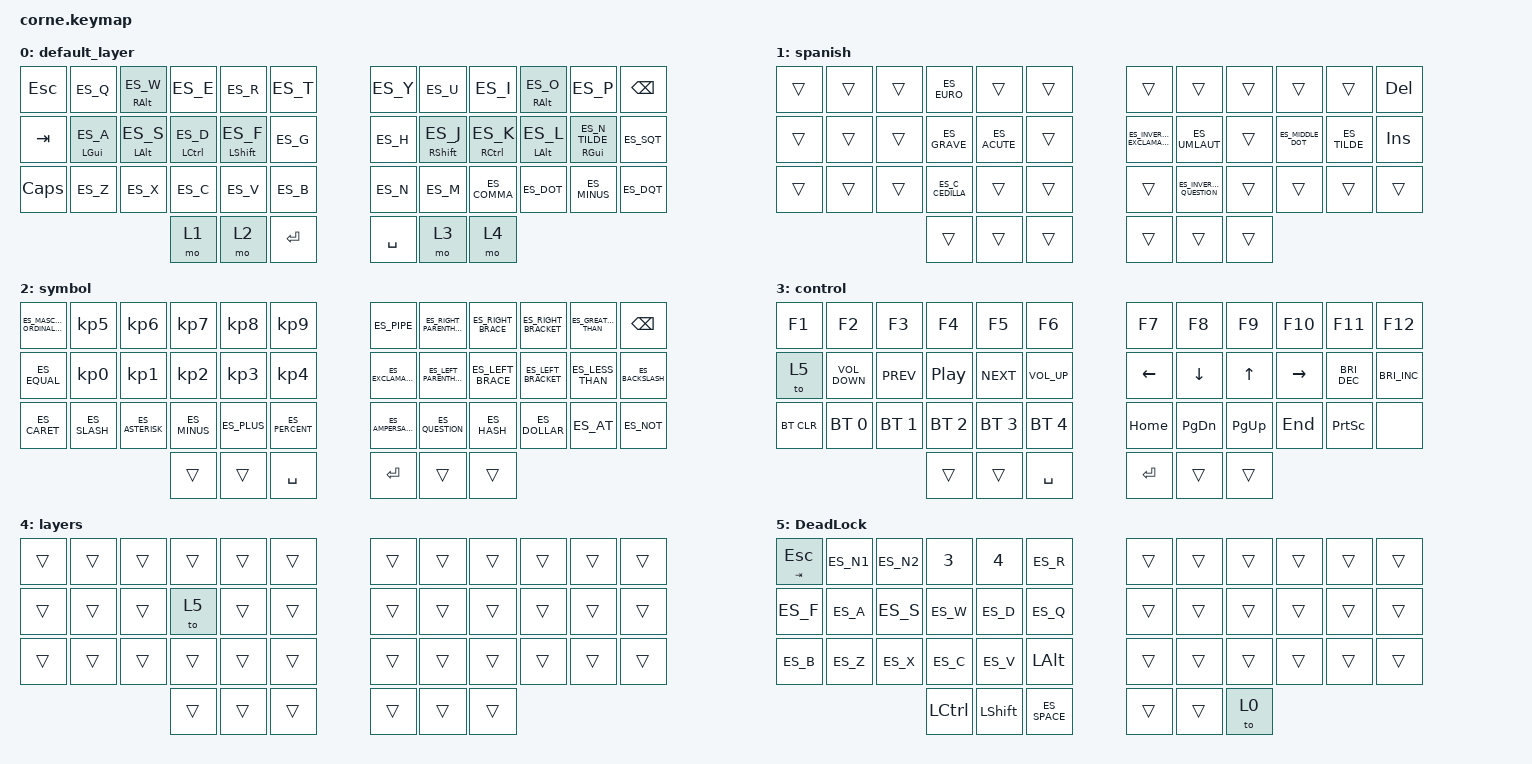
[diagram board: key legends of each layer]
/*
 * Copyright (c) 2020 The ZMK Contributors
 *
 * SPDX-License-Identifier: MIT
 */

#include "keys_es.h"
#include <behaviors.dtsi>
#include <dt-bindings/zmk/bt.h>
#include <dt-bindings/zmk/keys.h>

/ {
    behaviors {
        HRM: HRM {
            compatible = "zmk,behavior-hold-tap";
            label = "HRM";
            bindings = <&kp>, <&kp>;

            #binding-cells = <2>;
            tapping-term-ms = <200>;
            quick-tap-ms = <150>;
            flavor = "tap-preferred";
            hold-trigger-key-positions = <41 40 39 38 36 37 29 28 26 27 15 16 17 1 2 4 5 13 14 15 16 17 25 26 27 28 29 3 0 12 24>;
            hold-trigger-on-release;
        };

        HRL: HRL {
            compatible = "zmk,behavior-hold-tap";
            label = "HRL";
            bindings = <&kp>, <&kp>;

            #binding-cells = <2>;
            tapping-term-ms = <200>;
            quick-tap-ms = <150>;
            flavor = "tap-preferred";
            hold-trigger-on-release;
            hold-trigger-key-positions = <36 37 38 39 40 41 6 7 8 9 10 11 18 19 20 21 22 23 30 31 32 33 34 35>;
        };
    };

    keymap {
        compatible = "zmk,keymap";

        default_layer {
            // -----------------------------------------------------------------------------------------
            // |  TAB |  Q  |  W  |  E  |  R  |  T  |   |  Y  |  U   |  I  |  O  |  P  | BSPC |
            // | CTRL |  A  |  S  |  D  |  F  |  G  |   |  H  |  J   |  K  |  L  |  ;  |  '   |
            // | SHFT |  Z  |  X  |  C  |  V  |  B  |   |  N  |  M   |  ,  |  .  |  /  | ESC  |
            //                    | GUI | LWR | SPC |   | ENT | RSE  | ALT |

            bindings = <
&kp ESC   &kp ES_Q            &HRL RIGHT_ALT ES_W  &kp ES_E                &kp ES_R              &kp ES_T    &kp ES_Y   &kp ES_U               &kp ES_I                 &HRM RALT ES_O      &kp ES_P                   &kp BSPC
&kp TAB   &HRL LEFT_GUI ES_A  &HRL LEFT_ALT ES_S   &HRL LEFT_CONTROL ES_D  &HRL LEFT_SHIFT ES_F  &kp ES_G    &kp ES_H   &HRM RIGHT_SHIFT ES_J  &HRM RIGHT_CONTROL ES_K  &HRM LEFT_ALT ES_L  &HRM RIGHT_GUI ES_N_TILDE  &kp ES_SQT
&kp CAPS  &kp ES_Z            &kp ES_X             &kp ES_C                &kp ES_V              &kp ES_B    &kp ES_N   &kp ES_M               &kp ES_COMMA             &kp ES_DOT          &kp ES_MINUS               &kp ES_DQT
                                                   &mo 1                   &mo 2                 &kp RET     &kp SPACE  &mo 3                  &mo 4
            >;
        };

        spanish {
            bindings = <
&trans  &trans  &trans  &kp ES_EURO       &trans        &trans    &trans                       &trans                    &trans  &trans             &trans        &kp DELETE
&trans  &trans  &trans  &kp ES_GRAVE      &kp ES_ACUTE  &trans    &kp ES_INVERTED_EXCLAMATION  &kp ES_UMLAUT             &trans  &kp ES_MIDDLE_DOT  &kp ES_TILDE  &kp INSERT
&trans  &trans  &trans  &kp ES_C_CEDILLA  &trans        &trans    &trans                       &kp ES_INVERTED_QUESTION  &trans  &trans             &trans        &trans
                        &trans            &trans        &trans    &trans                       &trans                    &trans
            >;
        };

        symbol {
            // -----------------------------------------------------------------------------------------
            // |  TAB |  1  |  2  |  3  |  4  |  5  |   |  6  |  7  |  8  |  9  |  0  | BSPC |
            // | BTCLR| BT1 | BT2 | BT3 | BT4 | BT5 |   | LFT | DWN |  UP | RGT |     |      |
            // | SHFT |     |     |     |     |     |   |     |     |     |     |     |      |
            //                    | GUI |     | SPC |   | ENT |     | ALT |

            bindings = <
&kp ES_MASCULINE_ORDINAL_INDICATOR  &kp KP_NUMBER_5  &kp KP_NUMBER_6  &kp KP_NUMBER_7  &kp KP_NUMBER_8  &kp KP_NUMBER_9    &kp ES_PIPE         &kp ES_RIGHT_PARENTHESIS  &kp ES_RIGHT_BRACE  &kp ES_RIGHT_BRACKET  &kp ES_GREATER_THAN  &kp BSPC
&kp ES_EQUAL                        &kp KP_NUMBER_0  &kp KP_NUMBER_1  &kp KP_NUMBER_2  &kp KP_NUMBER_3  &kp KP_NUMBER_4    &kp ES_EXCLAMATION  &kp ES_LEFT_PARENTHESIS   &kp ES_LEFT_BRACE   &kp ES_LEFT_BRACKET   &kp ES_LESS_THAN     &kp ES_BACKSLASH
&kp ES_CARET                        &kp ES_SLASH     &kp ES_ASTERISK  &kp ES_MINUS     &kp ES_PLUS      &kp ES_PERCENT     &kp ES_AMPERSAND    &kp ES_QUESTION           &kp ES_HASH         &kp ES_DOLLAR         &kp ES_AT            &kp ES_NOT
                                                                      &trans           &trans           &kp SPACE          &kp RET             &trans                    &trans
            >;
        };

        control {
            // -----------------------------------------------------------------------------------------
            // |  TAB |  !  |  @  |  #  |  $  |  %  |   |  ^  |  &  |  *  |  (  |  )  | BSPC |
            // | CTRL |     |     |     |     |     |   |  -  |  =  |  [  |  ]  |  \  |  `   |
            // | SHFT |     |     |     |     |     |   |  _  |  +  |  {  |  }  | "|" |  ~   |
            //                    | GUI |     | SPC |   | ENT |     | ALT |

            bindings = <
&kp F1      &kp F2             &kp F3        &kp F4            &kp F5        &kp F6             &kp F7          &kp F8          &kp F9        &kp F10          &kp F11               &kp F12
&to 5       &kp C_VOLUME_DOWN  &kp C_PREV    &kp C_PLAY_PAUSE  &kp C_NEXT    &kp C_VOLUME_UP    &kp LEFT_ARROW  &kp DOWN_ARROW  &kp UP_ARROW  &kp RIGHT_ARROW  &kp C_BRIGHTNESS_DEC  &kp C_BRIGHTNESS_INC
&bt BT_CLR  &bt BT_SEL 0       &bt BT_SEL 1  &bt BT_SEL 2      &bt BT_SEL 3  &bt BT_SEL 4       &kp HOME        &kp PAGE_DOWN   &kp PG_UP     &kp END          &kp PRINTSCREEN       &none
                                             &trans            &trans        &kp SPACE          &kp RET         &trans          &trans
            >;
        };

        layers {
            bindings = <
&trans  &trans  &trans  &trans  &trans  &trans    &trans  &trans  &trans  &trans  &trans  &trans
&trans  &trans  &trans  &to 5   &trans  &trans    &trans  &trans  &trans  &trans  &trans  &trans
&trans  &trans  &trans  &trans  &trans  &trans    &trans  &trans  &trans  &trans  &trans  &trans
                        &trans  &trans  &trans    &trans  &trans  &trans
            >;
        };

        DeadLock {
            bindings = <
&mt TAB ESC  &kp ES_N1  &kp ES_N2  &kp NUMBER_3      &kp NUMBER_4    &kp ES_R        &trans  &trans  &trans  &trans  &trans  &trans
&kp ES_F     &kp ES_A   &kp ES_S   &kp ES_W          &kp ES_D        &kp ES_Q        &trans  &trans  &trans  &trans  &trans  &trans
&kp ES_B     &kp ES_Z   &kp ES_X   &kp ES_C          &kp ES_V        &kp LEFT_ALT    &trans  &trans  &trans  &trans  &trans  &trans
                                   &kp LEFT_CONTROL  &kp LEFT_SHIFT  &kp ES_SPACE    &trans  &trans  &to 0
            >;
        };
    };
};
